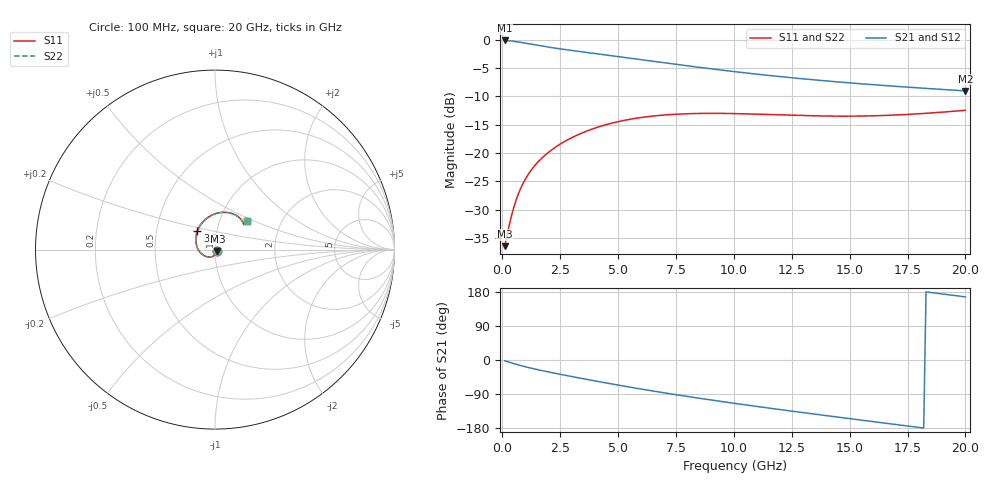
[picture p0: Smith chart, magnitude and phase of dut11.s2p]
! Touchstone file exported from HFSS 2023.1.0
!  File:  D:/Users/fzz/RDL_TSV/temp_RDL_TSV_11_1778742936.aedt
!  Generated:  3:24:23 %x4E0B%x5348  5%x6708 14, 2026
!  Design:  RDL_TSV
!  Project:  temp_RDL_TSV_11_1778742936
!  Setup:  Setup1
!  Solution:  Sweep
! Variables:
!  dtsv = 21.3um
!  hbump = 3um
!  htsv = 66.91um
!  ldown = 590.39um
!  lrdl = 149.03um
!  p = 40
!  p1 = 53.07um
!  rhole = 10um
!  subl = 2367.29um
!  t = 450um
!  tdown = 2.63um
!  trdl = 4.45um
!  viad = 10um
!  wdown = 21.5um
!  wrdl = 18.2um
!  xbump = 18um
# GHz S MA R 50.000000
! Terminal data exported
! Port[1] = TM1_1_T1
! Port[2] = TM1_4_T1
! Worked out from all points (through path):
!   200 points, 100 MHz to 20 GHz, reference 50 ohm
!   highest |S21| = -0.13 dB at 100 MHz (marker M1); lowest = -9.0 dB at 20 GHz (marker M2)
!   group delay of S21, straight-line fit = 25.4 ps
!   lowest |S11| = -36.4 dB at 100 MHz (marker M3), VSWR 1.03, Z = 51.3 - j0.755 ohm
!   |S11| at or under -10 dB: start of sweep to end of sweep
!   |S22| runs from -36.4 to -12.5 dB; largest |S21 - S12| = 3.8e-14
!   S11 on the Smith chart (normalised r, x): 100 MHz: 1.03, -0.02; 3.2 GHz: 0.80, +0.17; 20 GHz: 1.35, +0.45
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0.1  0.01513 -29.1  0.9852 -2.0  0.9852 -2.0  0.01513 -29.1
! Gamma 0 0 0 0
! Port Impedance 50 0 50 0
0.4  0.02815 -84.7  0.9739 -7.7  0.9739 -7.7  0.02815 -84.7
0.6  0.03877 -106.4  0.9616 -11.3  0.9616 -11.3  0.03877 -106.4
0.8  0.04924 -123.4  0.9473 -14.7  0.9473 -14.7  0.04924 -123.4
1.1  0.06401 -144.2  0.9241 -19.4  0.9241 -19.4  0.064 -144.2
1.5  0.08187 -166.6  0.8937 -25.1  0.8937 -25.1  0.08182 -166.6
2  0.1019 171.1  0.8597 -31.6  0.8597 -31.6  0.1018 171.2
2.6  0.1235 150.1  0.8246 -38.9  0.8246 -38.9  0.1234 150.1
3.2  0.1432 133.3  0.7937 -46.0  0.7937 -46.0  0.143 133.4
3.5  0.1522 126.1  0.7791 -49.5  0.7791 -49.5  0.152 126.1
4.3  0.1739 109.7  0.7417 -58.5  0.7417 -58.5  0.1736 109.7
5.1  0.1914 96.3  0.7059 -67.3  0.7059 -67.3  0.1911 96.3
5.9  0.2049 85.2  0.6712 -75.7  0.6712 -75.7  0.2045 85.2
6.8  0.2153 74.9  0.6342 -84.8  0.6342 -84.8  0.2149 74.9
8.4  0.2237 60.9  0.5745 -100.0  0.5745 -100.0  0.2233 60.8
10.1  0.2231 50.8  0.521 -115.0  0.521 -115.0  0.2227 50.7
11.7  0.2184 45.0  0.4797 -128.4  0.4797 -128.4  0.218 44.9
13.4  0.2134 41.9  0.444 -142.1  0.444 -142.1  0.213 41.8
15  0.2119 41.1  0.4164 -154.7  0.4164 -154.7  0.2115 41.0
16.7  0.2156 41.5  0.3919 -168.0  0.3919 -168.0  0.2152 41.3
18.3  0.2245 41.9  0.3722 179.7  0.3722 179.7  0.224 41.7
20  0.2385 41.8  0.3539 166.6  0.3539 166.6  0.2379 41.5
